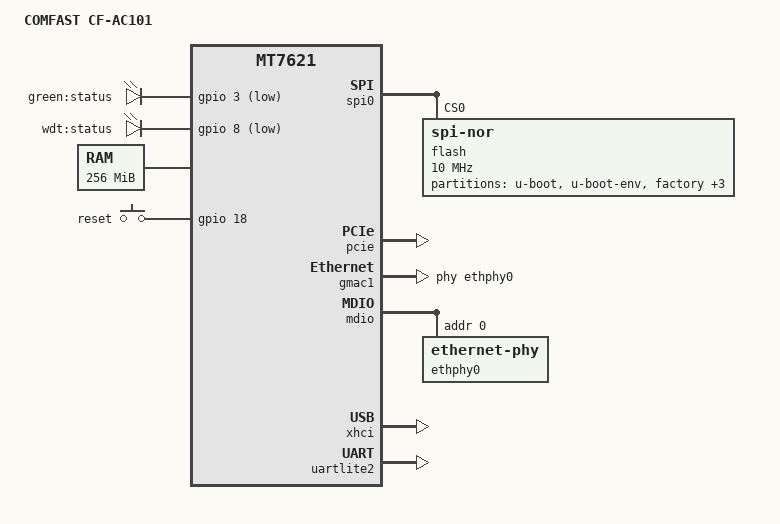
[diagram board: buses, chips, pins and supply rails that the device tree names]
// SPDX-License-Identifier: GPL-2.0-or-later OR MIT

#include "mt7621.dtsi"

#include <dt-bindings/gpio/gpio.h>
#include <dt-bindings/input/input.h>
#include <dt-bindings/leds/common.h>

/ {
	compatible = "comfast,cf-ac101", "mediatek,mt7621-soc";
	model = "COMFAST CF-AC101";

	aliases {
		led-boot = &led_status_green;
		led-running = &led_status_green;
		led-upgrade = &led_status_green;
	};

	leds {
		compatible = "gpio-leds";

		led_status_green: status_green {
			label = "green:status";
			gpios = <&gpio 3 GPIO_ACTIVE_LOW>;
		};

		led_wdt: wdt {
			label = "wdt:status";
			gpios = <&gpio 8 GPIO_ACTIVE_LOW>;
		};
	};

	chosen {
		bootargs = "console=ttyS0,115200 panic=0";
	};

	memory@0 {
		device_type = "memory";
		reg = <0x0 0x10000000>; // 256mb
	};
		
	keys {
		compatible = "gpio-keys";

		reset {
			label = "reset";
			gpios = <&gpio 18 GPIO_ACTIVE_HIGH>;
			linux,code = <KEY_RESTART>;
		};
	};
};

&spi0 {
	status = "okay";

	flash@0 {
		compatible = "jedec,spi-nor";
		reg = <0>;
		spi-max-frequency = <10000000>; // oem 10mhz?

		#address-cells = <1>;
		#size-cells = <1>;

		partitions {
			compatible = "fixed-partitions";
			#address-cells = <1>;
			#size-cells = <1>;

			partition@0 {
				label = "u-boot";
				reg = <0x0 0x30000>;
				read-only;
			};

			partition@30000 {
				label = "u-boot-env";
				reg = <0x30000 0x10000>;
				read-only;
			};

			partition@40000 {
				label = "factory";
				reg = <0x40000 0x10000>;
				read-only;

				nvmem-layout {
					compatible = "fixed-layout";
					#address-cells = <1>;
					#size-cells = <1>;

					macaddr_factory_0004: macaddr@0004 {
						compatible = "mac-base";
						reg = <0x0004 0x6>;
						#nvmem-cell-cells = <1>;
					};
				};
			};

			partition@50000 {
				compatible = "denx,uimage";
				label = "firmware";
				reg = <0x50000 0xf70000>;
			};

			partition@fc0000 {
				label = "configs";
				reg = <0xfc0000 0x40000>;
			};

			partition@1000000 {
				label = "reserve";
				reg = <0x1000000 0x1000000>;
			};
		};
	};
};

&pcie {
	status = "okay";
};

&switch0 {
	ports {
		port@1 {
			status = "okay";
			label = "lan1";
		};

		port@2 {
			status = "okay";
			label = "lan2";
		};

		port@3 {
			status = "okay";
			label = "lan3";
		};

		port@4 {
			status = "okay";
			label = "lan4";
		};
	};
};

&gmac0 {
	nvmem-cells = <&macaddr_factory_0004 0>;
	nvmem-cell-names = "mac-address";
};

&gmac1 {
	status = "okay";
	label = "wan";
	phy-handle = <&ethphy0>;

	nvmem-cells = <&macaddr_factory_0004 1>;
	nvmem-cell-names = "mac-address";
};

&mdio {
	ethphy0: ethernet-phy@0 {
		reg = <0>;
	};
};

&xhci {
	status = "okay";
};

&uartlite2 {
	status = "okay";
};

&state_default {
	gpio {
		groups = "i2c", "wdt", "rgmii2", "uart3";
		function = "gpio";
	};
};

